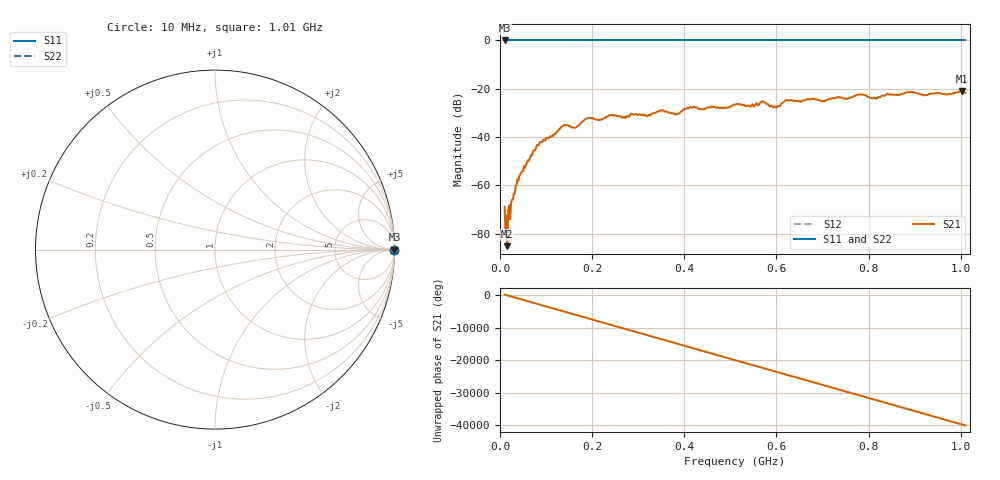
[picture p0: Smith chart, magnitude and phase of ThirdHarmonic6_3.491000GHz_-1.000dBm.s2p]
! 8/17/2025 11:22:45 AM
! C:\ANRITSUVNA\TEMP\TEMP.S2P
! CHANNEL.1
! TR.MEASUREMENT
! RAW.DATA
! RF.CORRECTION.OFF
! AVERAGING.OFF
! IF.BANDWIDTH: 5KHZ
! SWEEPTYPE:  FREQ.SWEEP(Linear)
! Reference Plane Port Info
! PORT:  PORT1  PORT2
! DISTANCE:  0  m  0  m
! TIME:  0  s  0  s
! PHASE.OFFSET:  0  deg.  0  deg.
! LOSS:  0  dB  0  dB
! REF.LOSS:  0  dB  0  dB
! REF.FREQ:  0  Hz  0  Hz
! Power Info
! POWER:  -20  dBm  -20  dBm
! EFF.POWER:  -20  dBm  -20  dBm
! SOURCE.ATTEN:  0  dB  0  dB
! TEST.ATTEN:  0  dB  0  dB
# GHZ S RI R 50.0
! FREQ.GHZ  S11RE  S11IM  S21RE  S21IM  S12RE  S12IM  S22RE  S22IM
!; PortSelection: Port_12
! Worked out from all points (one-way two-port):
!   501 points, 10 MHz to 1.01 GHz, reference 50 ohm
!   highest |S21| = -20.99 dB at 1.002 GHz (marker M1); lowest = -85.2 dB at 16 MHz (marker M2)
!   lowest |S11| = 0.0 dB at 10 MHz (marker M3)
!   |S11| at or under -10 dB: nowhere
!   |S22| runs from 0.0 to 0.0 dB; largest |S21 - S12| = 1.1
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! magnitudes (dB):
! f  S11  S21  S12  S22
! 10 MHz  0.0  -68.9  0.0  0.0
! 12 MHz  0.0  -80.7  0.0  0.0
! 16 MHz  0.0  -85.2  0.0  0.0
! 42 MHz  0.0  -56.2  0.0  0.0
! 84 MHz  0.0  -43.3  0.0  0.0
! 136 MHz  0.0  -35.5  0.0  0.0
! 162 MHz  0.0  -36.1  0.0  0.0
! 178 MHz  0.0  -33.7  0.0  0.0
! 192 MHz  0.0  -32.0  0.0  0.0
! 322 MHz  0.0  -31.0  0.0  0.0
! 344 MHz  0.0  -29.5  0.0  0.0
! 382 MHz  0.0  -30.5  0.0  0.0
! 416 MHz  0.0  -27.9  0.0  0.0
! 510 MHz  0.0  -26.6  0.0  0.0
! 572 MHz  0.0  -25.4  0.0  0.0
! 596 MHz  0.0  -27.3  0.0  0.0
! 622 MHz  0.0  -24.7  0.0  0.0
! 678 MHz  0.0  -24.2  0.0  0.0
! 814 MHz  0.0  -23.8  0.0  0.0
! 844 MHz  0.0  -22.4  0.0  0.0
! 1.002 GHz  0.0  -21.0  0.0  0.0
! 1.01 GHz  0.0  -21.7  0.0  0.0
